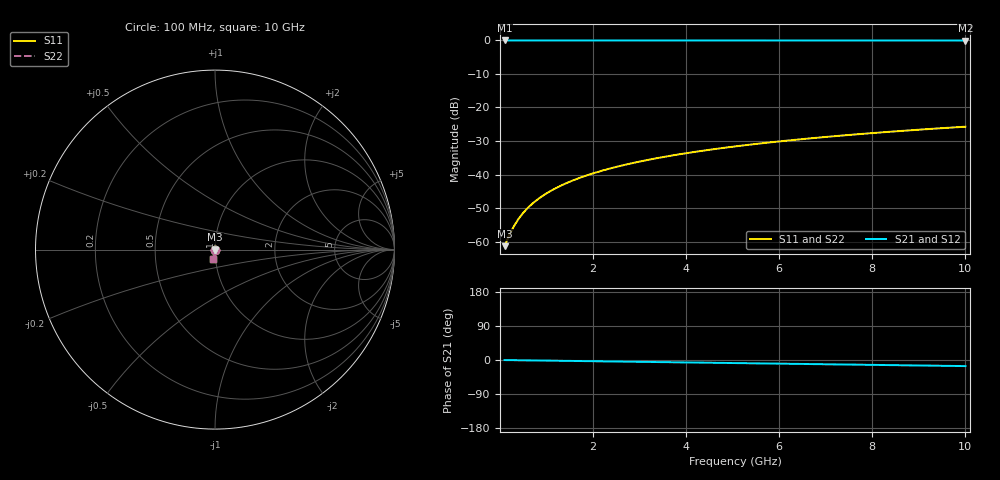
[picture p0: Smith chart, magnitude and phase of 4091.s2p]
# Hz S RI R 50.00
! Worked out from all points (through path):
!   100 points, 100 MHz to 10 GHz, reference 50 ohm
!   highest |S21| = -0.01 dB at 100 MHz (marker M1); lowest = 0.0 dB at 10 GHz (marker M2)
!   group delay of S21, straight-line fit = 4.47 ps
!   lowest |S11| = -61.4 dB at 100 MHz (marker M3), VSWR 1.00, Z = 50.1 - j0.0521 ohm
!   |S11| at or under -10 dB: start of sweep to end of sweep
!   |S22| runs from -61.4 to -25.7 dB; largest |S21 - S12| = 0
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1e8  0.000676 -0.00052  0.9993 -0.00279  0.9993 -0.00279  0.000676 -0.00052
2e8  0.000675 -0.00104  0.9993 -0.00558  0.9993 -0.00558  0.000675 -0.00104
3e8  0.000669 -0.00156  0.9993 -0.00837  0.9993 -0.00837  0.000669 -0.00156
4e8  0.00066 -0.00208  0.9992 -0.0112  0.9992 -0.0112  0.00066 -0.00208
5e8  0.000648 -0.0026  0.9992 -0.014  0.9992 -0.014  0.000648 -0.0026
6e8  0.000633 -0.00312  0.9991 -0.0167  0.9991 -0.0167  0.000633 -0.00312
7e8  0.000614 -0.00364  0.9991 -0.0195  0.9991 -0.0195  0.000614 -0.00364
9e8  0.000568 -0.00468  0.999 -0.0251  0.999 -0.0251  0.000568 -0.00468
1e9  0.00054 -0.0052  0.9989 -0.0279  0.9989 -0.0279  0.00054 -0.0052
1.2e9  0.000476 -0.00624  0.9987 -0.0335  0.9987 -0.0335  0.000476 -0.00624
1.5e9  0.000358 -0.0078  0.9984 -0.0419  0.9984 -0.0419  0.000358 -0.0078
1.8e9  0.000213 -0.00936  0.998 -0.0502  0.998 -0.0502  0.000213 -0.00936
2.1e9  4.15e-05 -0.0109  0.9975 -0.0586  0.9975 -0.0586  4.15e-05 -0.0109
2.5e9  -0.000228 -0.013  0.9967 -0.0698  0.9967 -0.0698  -0.000228 -0.013
2.9e9  -0.000544 -0.0151  0.9958 -0.0809  0.9958 -0.0809  -0.000544 -0.0151
3.4e9  -0.00101 -0.0176  0.9945 -0.0949  0.9945 -0.0949  -0.00101 -0.0176
4.2e9  -0.00189 -0.0217  0.9921 -0.1171  0.9921 -0.1171  -0.00189 -0.0217
5.1e9  -0.00311 -0.0263  0.9887 -0.1422  0.9887 -0.1422  -0.00311 -0.0263
5.9e9  -0.00439 -0.0303  0.9851 -0.1643  0.9851 -0.1643  -0.00439 -0.0303
6.7e9  -0.00585 -0.0343  0.981 -0.1864  0.981 -0.1864  -0.00585 -0.0343
8.4e9  -0.00955 -0.0425  0.9705 -0.2331  0.9705 -0.2331  -0.00955 -0.0425
1e10  -0.0137 -0.0498  0.9586 -0.2767  0.9586 -0.2767  -0.0137 -0.0498
